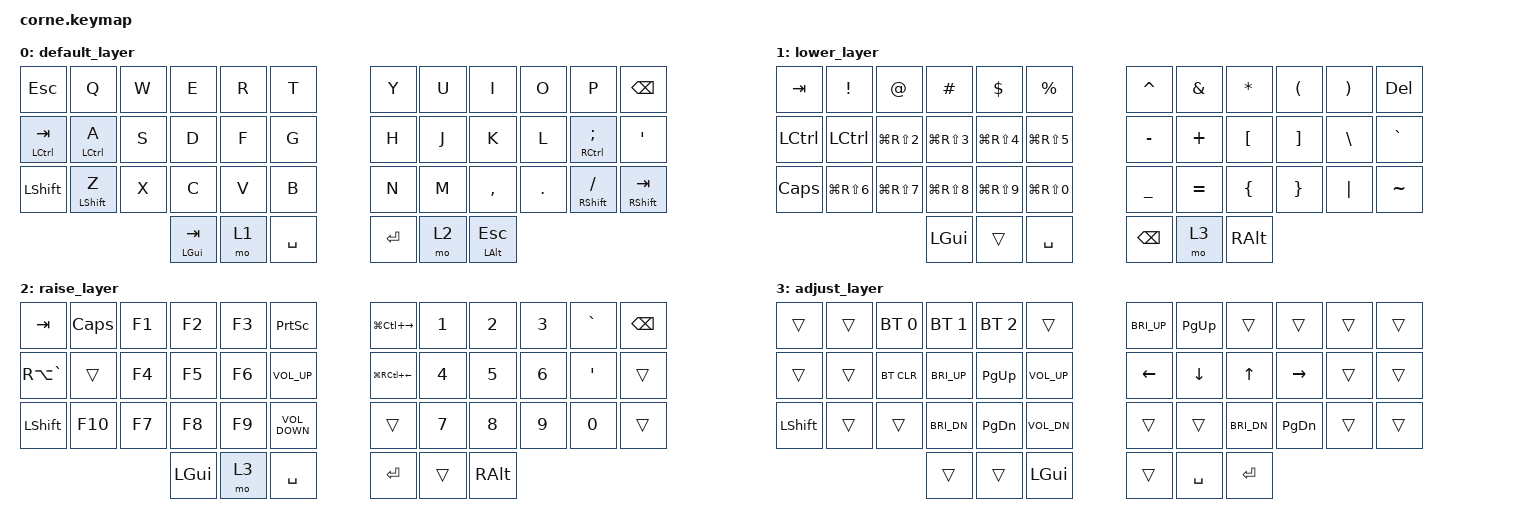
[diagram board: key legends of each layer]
/*
 * Copyright (c) 2020 The ZMK Contributors
 *
 * SPDX-License-Identifier: MIT
 */

#include <behaviors.dtsi>
#include <dt-bindings/zmk/bt.h>
#include <dt-bindings/zmk/keys.h>

&mt { tapping-term-ms = <350>; };

/  {
    behaviors {
        bhm: balanced_homerow_mods {
            compatible = "zmk,behavior-hold-tap";
            #binding-cells = <2>;
            tapping-term-ms = <200>;    // <---[[moderate duration]]
            quick-tap-ms = <0>;
            flavor = "balanced";
            bindings = <&kp>, <&kp>;
        };
    };
 
    keymap {
        compatible = "zmk,keymap";

        default_layer {
            bindings = <
&kp ESC        &kp Q        &kp W  &kp E             &kp R  &kp T        &kp Y      &kp U  &kp I             &kp O    &kp P            &kp BSPC
&mt LCTRL TAB  &bhm LCTRL A  &kp S  &kp D             &kp F  &kp G        &kp H      &kp J  &kp K             &kp L    &bhm RCTRL SEMI   &kp SQT
&kp LSHFT      &bhm LSHFT Z  &kp X  &kp C             &kp V  &kp B        &kp N      &kp M  &kp COMMA         &kp DOT  &bhm RSHIFT FSLH  &mt RSHIFT TAB
                                   &mt LEFT_GUI TAB  &mo 1  &kp SPACE    &kp ENTER  &mo 2  &mt LEFT_ALT ESC
            >;
        };

        lower_layer {
            bindings = <
&kp TAB    &kp EXCL        &kp AT          &kp HASH        &kp DLLR        &kp PRCNT         &kp CARET  &kp AMPS   &kp ASTRK  &kp LPAR  &kp RPAR  &kp DELETE
&kp LCTRL  &kp LCTRL  &kp LG(RS(N2))  &kp LG(RS(N3))  &kp LG(RS(N4))  &kp LG(RS(N5))    &kp MINUS  &kp PLUS   &kp LBKT   &kp RBKT  &kp BSLH  &kp GRAVE
&kp CAPS   &kp LG(RS(N6))  &kp LG(RS(N7))  &kp LG(RS(N8))  &kp LG(RS(N9))  &kp LG(RS(N0))    &kp UNDER  &kp EQUAL  &kp LBRC   &kp RBRC  &kp PIPE  &kp TILDE
                                           &kp LGUI        &trans          &kp SPACE         &kp BSPC   &mo 3      &kp RALT
            >;
        };

        raise_layer {
            bindings = <
&kp TAB        &kp CAPSLOCK  &kp F1  &kp F2    &kp F3  &kp PSCRN            &kp LG(LC(RIGHT))       &kp N1  &kp N2    &kp N3  &kp GRAVE  &kp BSPC
&kp RA(GRAVE)  &trans        &kp F4  &kp F5    &kp F6  &kp C_VOLUME_UP      &kp LG(RC(LEFT_ARROW))  &kp N4  &kp N5    &kp N6  &kp SQT    &trans
&kp LSHFT      &kp F10       &kp F7  &kp F8    &kp F9  &kp C_VOLUME_DOWN    &trans                  &kp N7  &kp N8    &kp N9  &kp N0     &trans
                                     &kp LGUI  &mo 3   &kp SPACE            &kp RET                 &trans  &kp RALT
            >;
        };

        adjust_layer {
            bindings = <
&trans     &trans    &bt BT_SEL 0  &bt BT_SEL 1  &bt BT_SEL 2  &trans             &kp C_BRI_UP  &kp PG_UP  &trans        &trans     &trans  &trans
&trans     &trans      &bt BT_CLR        &kp C_BRI_UP  &kp PG_UP     &kp C_VOLUME_UP    &kp LEFT      &kp DOWN   &kp UP        &kp RIGHT  &trans  &trans
&kp LSHFT  &trans      &trans        &kp C_BRI_DN  &kp PG_DN     &kp C_VOL_DN       &trans        &trans     &kp C_BRI_DN  &kp PG_DN  &trans  &trans
                                     &trans        &trans        &kp LGUI           &trans        &kp SPACE  &kp RET
            >;
        };
    };
};
